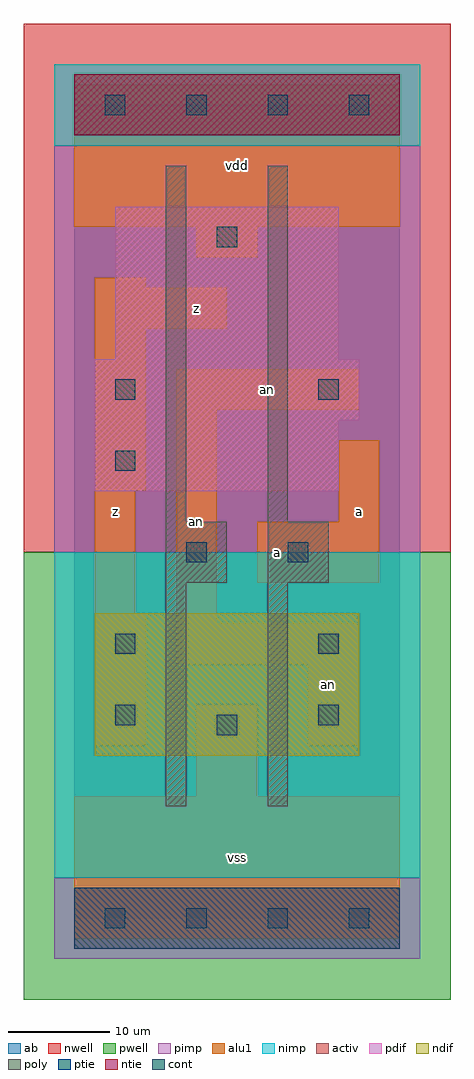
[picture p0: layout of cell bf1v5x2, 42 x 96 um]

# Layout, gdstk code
import gdstk
lib = gdstk.Library(unit=1e-6, precision=1e-09)
def R(c, l, rs):  # rectangles x0, y0, x1, y1
    for r in rs: c.add(gdstk.rectangle(r[:2], r[2:], *l))
def A(c, l, x, y, w, h, nx, ny, dx, dy):  # array of equal rectangles
    R(c, l, [(x+i*dx, y+j*dy, x+i*dx+w, y+j*dy+h) for i in range(nx) for j in range(ny)])
ndif = (3, 0)
pdif = (4, 0)
ntie = (5, 0)
ptie = (6, 0)
cont = (25, 0)
pwell = (41, 0)
nwell = (42, 0)
activ = (43, 0)
pimp = (44, 0)
nimp = (45, 0)
poly = (46, 0)
alu1 = (49, 0)
ab = (63, 0)

bf1v5x2 = lib.new_cell('bf1v5x2')
R(bf1v5x2, ndif, [(2,16,28,30)])
R(bf1v5x2, pdif, [(2,42,26,49), (2,49,28,55), (4,55,26,70)])
R(bf1v5x2, ntie, [(0,77,32,83)])
R(bf1v5x2, ptie, [(0,-3,32,3)])
A(bf1v5x2, cont, 3, -1, 2, 2, 4, 2, 8, 80)
R(bf1v5x2, cont, [(14,18,16,20), (4,19,6,21), (24,19,26,21), (4,26,6,28), (24,26,26,28), (11,35,13,37), (21,35,23,37), (4,44,6,46), (4,51,6,53), (24,51,26,53), (14,66,16,68)])
R(bf1v5x2, pwell, [(-5,-8,37,36)])
R(bf1v5x2, nwell, [(-5,36,37,88)])
R(bf1v5x2, activ, [(0,-3,32,3), (2,16,28,30), (2,42,26,49), (2,49,28,55), (4,55,26,70), (0,77,32,83)])
R(bf1v5x2, pimp, [(-2,-4,34,4), (-2,36,34,76)])
R(bf1v5x2, nimp, [(-2,4,34,36), (-2,76,34,84)])
R(bf1v5x2, poly, [(9,11,11,33), (19,11,21,33), (9,33,15,39), (19,33,25,39), (9,39,11,74), (19,39,21,74)])
R(bf1v5x2, alu1, [(0,-2,32,12), (12,12,18,21), (2,17,7,30), (23,17,28,25), (10,25,28,29), (10,29,14,50), (2,30,6,42), (18,33,30,39), (26,39,30,47), (2,42,7,58), (10,50,28,54), (2,58,15,62), (2,62,7,63), (12,65,18,68), (0,68,32,82)])
R(bf1v5x2, ab, [(0,0,32,80)])
bf1v5x2.add(gdstk.Label('an', (12,39), layer=49, texttype=0))
bf1v5x2.add(gdstk.Label('an', (25,23), layer=49, texttype=0))
bf1v5x2.add(gdstk.Label('an', (19,52), layer=49, texttype=0))
bf1v5x2.add(gdstk.Label('z', (4,40), layer=49, texttype=0))
bf1v5x2.add(gdstk.Label('vss', (16,6), layer=49, texttype=0))
bf1v5x2.add(gdstk.Label('z', (12,60), layer=49, texttype=0))
bf1v5x2.add(gdstk.Label('vdd', (16,74), layer=49, texttype=0))
bf1v5x2.add(gdstk.Label('a', (20,36), layer=49, texttype=0))
bf1v5x2.add(gdstk.Label('a', (28,40), layer=49, texttype=0))

lib.write_gds('bf1v5x2.gds')
